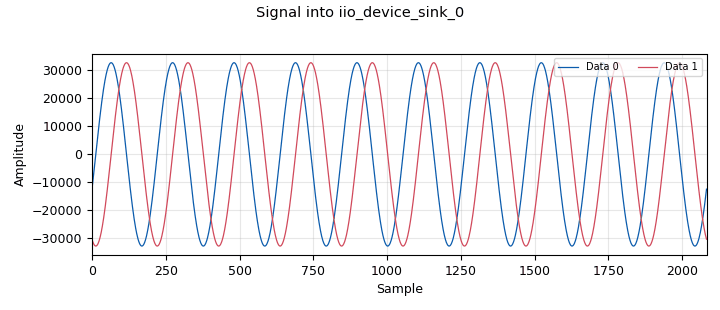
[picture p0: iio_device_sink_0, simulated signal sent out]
options:
  parameters:
    generate_options: qt_gui
    id: PlutoTestSine_38
    output_language: python
    title: Not titled yet
  states: {}

blocks:
- name: gain_control_mode
  id: variable
  parameters:
    value: '"manual"'
  states: {}
- name: lo_freq
  id: variable
  parameters:
    value: '2400000000'
  states: {}
- name: rf_bandwidth
  id: variable
  parameters:
    value: '20000000'
  states: {}
- name: samp_rate
  id: variable
  parameters:
    value: '2084000'
  states: {}
- name: uri
  id: variable
  parameters:
    value: '"ip:192.168.2.1"'
  states: {}
- name: variable_qtgui_range_0
  id: variable_qtgui_range
  parameters:
    label: Tone Frequency (Hz)
    start: '1'
    step: '1000'
    stop: '100000'
    value: '10000'
  states: {}
- name: variable_qtgui_range_1
  id: variable_qtgui_range
  parameters:
    label: Rx Gain (dB)
    start: '0'
    step: '1'
    stop: '71'
    value: '20'
  states: {state: disabled}
- name: analog_sig_source_x_0
  id: analog_sig_source_x
  parameters:
    amp: '1'
    freq: variable_qtgui_range_0
    offset: '0'
    phase: '0'
    samp_rate: samp_rate
    type: complex
    waveform: analog.GR_COS_WAVE
  states: {}
- name: blocks_complex_to_float_1
  id: blocks_complex_to_float
  parameters: {}
  states: {}
- name: blocks_float_to_complex_0
  id: blocks_float_to_complex
  parameters: {}
  states: {}
- name: blocks_float_to_short_0
  id: blocks_float_to_short
  parameters:
    scale: 2**15-1
  states: {}
- name: blocks_float_to_short_0_0
  id: blocks_float_to_short
  parameters:
    scale: 2**15-1
  states: {}
- name: blocks_short_to_float_0
  id: blocks_short_to_float
  parameters:
    scale: (2**15-1)
  states: {}
- name: blocks_short_to_float_0_0
  id: blocks_short_to_float
  parameters:
    scale: (2**15-1)
  states: {}
- name: iio_attr_sink_0
  id: iio_attr_sink
  parameters:
    attr_type: '0'
    channel: '"voltage0"'
    device: '"ad9361-phy"'
    output: 'True'
    uri: uri
  states: {}
- name: iio_attr_sink_0_0
  id: iio_attr_sink
  parameters:
    attr_type: '0'
    channel: '"voltage0"'
    device: '"ad9361-phy"'
    output: 'True'
    uri: uri
  states: {}
- name: iio_attr_sink_0_0_0
  id: iio_attr_sink
  parameters:
    attr_type: '0'
    channel: '"voltage0"'
    device: '"ad9361-phy"'
    output: 'False'
    uri: uri
  states: {}
- name: iio_attr_sink_0_1
  id: iio_attr_sink
  parameters:
    attr_type: '0'
    channel: '"altvoltage0"'
    device: '"ad9361-phy"'
    output: 'True'
    uri: uri
  states: {}
- name: iio_attr_source_0
  id: iio_attr_source
  parameters:
    attr_type: '0'
    attribute: sampling_frequency
    channel: ad9361-phy
    output: 'False'
    samples_per_update: '1024'
    type: '2'
    update_interval_ms: '1'
    uri: 'local:'
  states: {state: disabled}
- name: iio_attr_updater_1
  id: iio_attr_updater
  parameters:
    attr: '"sampling_frequency"'
    interval: '1000'
    value: str(samp_rate)
  states: {}
- name: iio_attr_updater_1_0
  id: iio_attr_updater
  parameters:
    attr: '"rf_bandwidth"'
    interval: '1000'
    value: str(rf_bandwidth)
  states: {}
- name: iio_attr_updater_1_0_0
  id: iio_attr_updater
  parameters:
    attr: '"gain_control_mode"'
    interval: '1000'
    value: '''manual'''
  states: {}
- name: iio_attr_updater_1_1
  id: iio_attr_updater
  parameters:
    attr: '"frequency"'
    interval: '1000'
    value: str(lo_freq)
  states: {}
- name: iio_device_sink_0
  id: iio_device_sink
  parameters:
    buffer_size: '32768'
    channels: '["voltage0","voltage1"]'
    cyclic: 'False'
    device: '"cf-ad9361-dds-core-lpc"'
    device_phy: '"ad9361-phy"'
    interpolation: '1'
    params: '[]'
    uri: uri
  states: {}
- name: iio_device_source_0
  id: iio_device_source
  parameters:
    buffer_size: '32768'
    channels: '["voltage0","voltage1"]'
    decimation: '1'
    device: '"cf-ad9361-lpc"'
    device_phy: '"ad9361-phy"'
    params: '[]'
    uri: uri
  states: {}
- name: iio_pluto_sink_0
  id: iio_pluto_sink
  parameters:
    attenuation1: '10.0'
    bandwidth: '20000000'
    buffer_size: '32768'
    cyclic: 'False'
    filter_source: '''Auto'''
    frequency: '2400000000'
    samplerate: samp_rate
    type: fc32
  states: {state: disabled}
- name: iio_pluto_source_0
  id: iio_pluto_source
  parameters:
    bandwidth: '20000000'
    bbdc: 'True'
    buffer_size: '32768'
    filter_source: '''Auto'''
    frequency: '2400000000'
    gain1: '''manual'''
    manual_gain1: variable_qtgui_range_1
    quadrature: 'True'
    rfdc: 'True'
    samplerate: samp_rate
    type: fc32
  states: {state: disabled}
- name: qtgui_freq_sink_x_0
  id: qtgui_freq_sink_x
  parameters:
    bw: samp_rate
    fc: '0'
    fftsize: '1024'
    type: complex
  states: {state: disabled}
- name: qtgui_sink_x_1
  id: qtgui_sink_x
  parameters:
    bw: samp_rate
    fc: '0'
    fftsize: '1024'
    type: complex
  states: {}
- name: qtgui_time_sink_x_0
  id: qtgui_time_sink_x
  parameters:
    size: '1024'
    srate: samp_rate
    type: complex
  states: {state: disabled}

connections:
- [analog_sig_source_x_0, '0', blocks_complex_to_float_1, '0']
- [analog_sig_source_x_0, '0', iio_pluto_sink_0, '0']
- [blocks_complex_to_float_1, '0', blocks_float_to_short_0, '0']
- [blocks_complex_to_float_1, '1', blocks_float_to_short_0_0, '0']
- [blocks_float_to_complex_0, '0', qtgui_sink_x_1, '0']
- [blocks_float_to_short_0, '0', iio_device_sink_0, '0']
- [blocks_float_to_short_0_0, '0', iio_device_sink_0, '1']
- [blocks_short_to_float_0, '0', blocks_float_to_complex_0, '0']
- [blocks_short_to_float_0_0, '0', blocks_float_to_complex_0, '1']
- [iio_attr_updater_1, out, iio_attr_sink_0, attr]
- [iio_attr_updater_1_0, out, iio_attr_sink_0_0, attr]
- [iio_attr_updater_1_0_0, out, iio_attr_sink_0_0_0, attr]
- [iio_attr_updater_1_1, out, iio_attr_sink_0_1, attr]
- [iio_device_source_0, '0', blocks_short_to_float_0, '0']
- [iio_device_source_0, '1', blocks_short_to_float_0_0, '0']
- [iio_pluto_source_0, '0', qtgui_freq_sink_x_0, '0']
- [iio_pluto_source_0, '0', qtgui_time_sink_x_0, '0']

metadata:
  file_format: 1
  grc_version: 3.10.9.2
